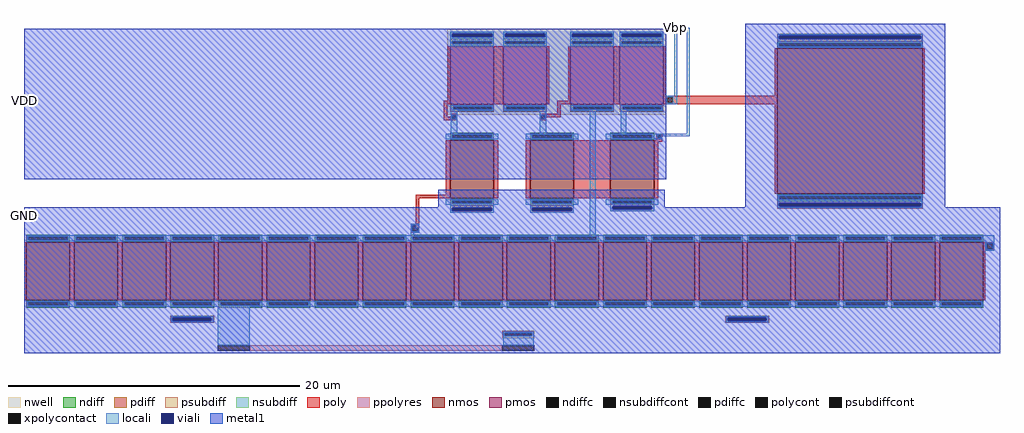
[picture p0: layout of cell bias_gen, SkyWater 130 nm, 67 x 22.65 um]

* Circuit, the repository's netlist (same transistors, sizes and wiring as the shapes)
* SPICE3 file created from bias_gen.ext - technology: sky130A

.subckt bias_gen Vbn Vbp VDD GND
X0 VDD a_n4470_n620# a_n4470_n620# VDD sky130_fd_pr__pfet_01v8 ad=1.5 pd=7 as=1.5 ps=7 w=3 l=4
X1 a_n10230_n3090# a_n10230_n3090# a_n10200_n3190# GND sky130_fd_pr__nfet_01v8 ad=1.5 pd=7 as=1.5 ps=7 w=3 l=4
X2 a_n10230_n3090# a_n10230_n3090# a_n10200_n3190# GND sky130_fd_pr__nfet_01v8 ad=1.5 pd=7 as=1.5 ps=7 w=3 l=4
X3 a_n10230_n3090# a_n10230_n3090# a_n10200_n3190# GND sky130_fd_pr__nfet_01v8 ad=1.5 pd=7 as=1.5 ps=7 w=3 l=4
X4 a_n10230_n3090# a_n10230_n3090# a_n10200_n3190# GND sky130_fd_pr__nfet_01v8 ad=1.5 pd=7 as=1.5 ps=7 w=3 l=4
X5 a_n10230_n3090# a_n10230_n3090# a_n10200_n3190# GND sky130_fd_pr__nfet_01v8 ad=1.5 pd=7 as=1.5 ps=7 w=3 l=4
X6 VDD a_n4470_n620# Vbp VDD sky130_fd_pr__pfet_01v8 ad=1.5 pd=7 as=1.5 ps=7 w=3 l=4
X7 a_n10230_n3090# a_n10230_n3090# a_n10200_n3190# GND sky130_fd_pr__nfet_01v8 ad=1.5 pd=7 as=1.5 ps=7 w=3 l=4
X8 a_n10230_n3090# a_n10230_n3090# a_n10200_n3190# GND sky130_fd_pr__nfet_01v8 ad=1.5 pd=7 as=1.5 ps=7 w=3 l=4
X9 a_n10230_n3090# a_n10230_n3090# a_n10200_n3190# GND sky130_fd_pr__nfet_01v8 ad=1.5 pd=7 as=1.5 ps=7 w=3 l=4
X10 a_n10230_n3090# a_n10230_n3090# a_n10200_n3190# GND sky130_fd_pr__nfet_01v8 ad=1.5 pd=7 as=1.5 ps=7 w=3 l=4
X11 a_n10230_n3090# a_n10230_n3090# a_n10200_n3190# GND sky130_fd_pr__nfet_01v8 ad=1.5 pd=7 as=1.5 ps=7 w=3 l=4
X12 a_n4470_n620# a_n10230_n3090# GND GND sky130_fd_pr__nfet_01v8 ad=1.5 pd=7 as=1.5 ps=7 w=3 l=4
X13 a_n10230_n3090# a_n10230_n3090# a_n10200_n3190# GND sky130_fd_pr__nfet_01v8 ad=1.5 pd=7 as=1.5 ps=7 w=3 l=4
X14 a_n10230_n3090# a_n10230_n3090# a_n10200_n3190# GND sky130_fd_pr__nfet_01v8 ad=1.5 pd=7 as=1.5 ps=7 w=3 l=4
X15 a_n10230_n3090# a_n10230_n3090# a_n10200_n3190# GND sky130_fd_pr__nfet_01v8 ad=1.5 pd=7 as=1.5 ps=7 w=3 l=4
X16 Vbp Vbn GND GND sky130_fd_pr__nfet_01v8 ad=1.5 pd=7 as=1.5 ps=7 w=3 l=4
X17 a_n10200_n3190# GND GND sky130_fd_pr__res_xhigh_po_0p35 l=17.5
X18 a_n10230_n3090# a_n10230_n3090# a_n10200_n3190# GND sky130_fd_pr__nfet_01v8 ad=1.5 pd=7 as=1.5 ps=7 w=3 l=4
X19 GND Vbp GND GND sky130_fd_pr__nfet_01v8 ad=5 pd=21 as=14.2 ps=62.8 w=10 l=10
X20 Vbn Vbn GND GND sky130_fd_pr__nfet_01v8 ad=1.5 pd=7 as=1.2 ps=6.8 w=3 l=4
X21 VDD Vbp a_n10230_n3090# VDD sky130_fd_pr__pfet_01v8 ad=1.5 pd=7 as=1.5 ps=7 w=3 l=4
X22 a_n10230_n3090# a_n10230_n3090# a_n10200_n3190# GND sky130_fd_pr__nfet_01v8 ad=1.5 pd=7 as=1.5 ps=7 w=3 l=4
X23 a_n10230_n3090# a_n10230_n3090# a_n10200_n3190# GND sky130_fd_pr__nfet_01v8 ad=1.5 pd=7 as=1.5 ps=7 w=3 l=4
X24 a_n10230_n3090# a_n10230_n3090# a_n10200_n3190# GND sky130_fd_pr__nfet_01v8 ad=1.5 pd=7 as=1.5 ps=7 w=3 l=4
X25 VDD Vbp Vbn VDD sky130_fd_pr__pfet_01v8 ad=1.5 pd=7 as=1.5 ps=7 w=3 l=4
X26 a_n10230_n3090# a_n10230_n3090# a_n10200_n3190# GND sky130_fd_pr__nfet_01v8 ad=1.5 pd=7 as=1.5 ps=7 w=3 l=4
X27 a_n10230_n3090# a_n10230_n3090# a_n10200_n3190# GND sky130_fd_pr__nfet_01v8 ad=1.5 pd=7 as=1.5 ps=7 w=3 l=4
X28 a_n10230_n3090# a_n10230_n3090# a_n10200_n3190# GND sky130_fd_pr__nfet_01v8 ad=1.5 pd=7 as=1.5 ps=7 w=3 l=4
.ends

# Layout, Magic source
magic
tech sky130A
<< nwell >>
rect -2210 -270 -705 320
<< nmos >>
rect -2190 -845 -1890 -445
rect -1640 -845 -1340 -445
rect -1090 -845 -790 -445
rect 55 -815 1055 185
rect -5100 -1545 -4800 -1145
rect -4770 -1545 -4470 -1145
rect -4440 -1545 -4140 -1145
rect -4110 -1545 -3810 -1145
rect -3780 -1545 -3480 -1145
rect -3450 -1545 -3150 -1145
rect -3120 -1545 -2820 -1145
rect -2790 -1545 -2490 -1145
rect -2460 -1545 -2160 -1145
rect -2130 -1545 -1830 -1145
rect -1800 -1545 -1500 -1145
rect -1470 -1545 -1170 -1145
rect -1140 -1545 -840 -1145
rect -810 -1545 -510 -1145
rect -480 -1545 -180 -1145
rect -150 -1545 150 -1145
rect 180 -1545 480 -1145
rect 510 -1545 810 -1145
rect 840 -1545 1140 -1145
rect 1170 -1545 1470 -1145
<< pmos >>
rect -2190 -200 -1890 200
rect -1825 -200 -1525 200
rect -1365 -200 -1065 200
rect -1025 -200 -725 200
<< ndiff >>
rect 55 220 1055 235
rect 55 200 70 220
rect 1040 200 1055 220
rect 55 185 1055 200
rect -2190 -410 -1890 -395
rect -2190 -430 -2175 -410
rect -1905 -430 -1890 -410
rect -2190 -445 -1890 -430
rect -1640 -410 -1340 -395
rect -1640 -430 -1625 -410
rect -1355 -430 -1340 -410
rect -1640 -445 -1340 -430
rect -1090 -410 -790 -395
rect -1090 -430 -1075 -410
rect -805 -430 -790 -410
rect -1090 -445 -790 -430
rect 55 -830 1055 -815
rect -2190 -860 -1890 -845
rect -2190 -880 -2175 -860
rect -1905 -880 -1890 -860
rect -2190 -895 -1890 -880
rect -1640 -860 -1340 -845
rect -1640 -880 -1625 -860
rect -1355 -880 -1340 -860
rect -1640 -895 -1340 -880
rect -1090 -860 -790 -845
rect -1090 -880 -1075 -860
rect -805 -880 -790 -860
rect -1090 -885 -790 -880
rect 55 -850 70 -830
rect 1040 -850 1055 -830
rect 55 -865 1055 -850
rect -5100 -1110 -4800 -1095
rect -5100 -1130 -5085 -1110
rect -4815 -1130 -4800 -1110
rect -5100 -1145 -4800 -1130
rect -4770 -1110 -4470 -1095
rect -4770 -1130 -4755 -1110
rect -4485 -1130 -4470 -1110
rect -4770 -1145 -4470 -1130
rect -4440 -1110 -4140 -1095
rect -4440 -1130 -4425 -1110
rect -4155 -1130 -4140 -1110
rect -4440 -1145 -4140 -1130
rect -4110 -1110 -3810 -1095
rect -4110 -1130 -4095 -1110
rect -3825 -1130 -3810 -1110
rect -4110 -1145 -3810 -1130
rect -3780 -1110 -3480 -1095
rect -3780 -1130 -3765 -1110
rect -3495 -1130 -3480 -1110
rect -3780 -1145 -3480 -1130
rect -3450 -1110 -3150 -1095
rect -3450 -1130 -3435 -1110
rect -3165 -1130 -3150 -1110
rect -3450 -1145 -3150 -1130
rect -3120 -1110 -2820 -1095
rect -3120 -1130 -3105 -1110
rect -2835 -1130 -2820 -1110
rect -3120 -1145 -2820 -1130
rect -2790 -1110 -2490 -1095
rect -2790 -1130 -2775 -1110
rect -2505 -1130 -2490 -1110
rect -2790 -1145 -2490 -1130
rect -2460 -1110 -2160 -1095
rect -2460 -1130 -2445 -1110
rect -2175 -1130 -2160 -1110
rect -2460 -1145 -2160 -1130
rect -2130 -1110 -1830 -1095
rect -2130 -1130 -2115 -1110
rect -1845 -1130 -1830 -1110
rect -2130 -1145 -1830 -1130
rect -1800 -1110 -1500 -1095
rect -1800 -1130 -1785 -1110
rect -1515 -1130 -1500 -1110
rect -1800 -1145 -1500 -1130
rect -1470 -1110 -1170 -1095
rect -1470 -1130 -1455 -1110
rect -1185 -1130 -1170 -1110
rect -1470 -1145 -1170 -1130
rect -1140 -1110 -840 -1095
rect -1140 -1130 -1125 -1110
rect -855 -1130 -840 -1110
rect -1140 -1145 -840 -1130
rect -810 -1110 -510 -1095
rect -810 -1130 -795 -1110
rect -525 -1130 -510 -1110
rect -810 -1145 -510 -1130
rect -480 -1110 -180 -1095
rect -480 -1130 -465 -1110
rect -195 -1130 -180 -1110
rect -480 -1145 -180 -1130
rect -150 -1110 150 -1095
rect -150 -1130 -135 -1110
rect 135 -1130 150 -1110
rect -150 -1145 150 -1130
rect 180 -1110 480 -1095
rect 180 -1130 195 -1110
rect 465 -1130 480 -1110
rect 180 -1145 480 -1130
rect 510 -1110 810 -1095
rect 510 -1130 525 -1110
rect 795 -1130 810 -1110
rect 510 -1145 810 -1130
rect 840 -1110 1140 -1095
rect 840 -1130 855 -1110
rect 1125 -1130 1140 -1110
rect 840 -1145 1140 -1130
rect 1170 -1110 1470 -1095
rect 1170 -1130 1185 -1110
rect 1455 -1130 1470 -1110
rect 1170 -1145 1470 -1130
rect -5100 -1560 -4800 -1545
rect -5100 -1580 -5085 -1560
rect -4815 -1580 -4800 -1560
rect -5100 -1595 -4800 -1580
rect -4770 -1560 -4470 -1545
rect -4770 -1580 -4755 -1560
rect -4485 -1580 -4470 -1560
rect -4770 -1595 -4470 -1580
rect -4440 -1560 -4140 -1545
rect -4440 -1580 -4425 -1560
rect -4155 -1580 -4140 -1560
rect -4440 -1595 -4140 -1580
rect -4110 -1560 -3810 -1545
rect -4110 -1580 -4095 -1560
rect -3825 -1580 -3810 -1560
rect -4110 -1595 -3810 -1580
rect -3780 -1560 -3480 -1545
rect -3780 -1580 -3765 -1560
rect -3495 -1580 -3480 -1560
rect -3780 -1595 -3480 -1580
rect -3450 -1560 -3150 -1545
rect -3450 -1580 -3435 -1560
rect -3165 -1580 -3150 -1560
rect -3450 -1595 -3150 -1580
rect -3120 -1560 -2820 -1545
rect -3120 -1580 -3105 -1560
rect -2835 -1580 -2820 -1560
rect -3120 -1595 -2820 -1580
rect -2790 -1560 -2490 -1545
rect -2790 -1580 -2775 -1560
rect -2505 -1580 -2490 -1560
rect -2790 -1595 -2490 -1580
rect -2460 -1560 -2160 -1545
rect -2460 -1580 -2445 -1560
rect -2175 -1580 -2160 -1560
rect -2460 -1595 -2160 -1580
rect -2130 -1560 -1830 -1545
rect -2130 -1580 -2115 -1560
rect -1845 -1580 -1830 -1560
rect -2130 -1595 -1830 -1580
rect -1800 -1560 -1500 -1545
rect -1800 -1580 -1785 -1560
rect -1515 -1580 -1500 -1560
rect -1800 -1595 -1500 -1580
rect -1470 -1560 -1170 -1545
rect -1470 -1580 -1455 -1560
rect -1185 -1580 -1170 -1560
rect -1470 -1595 -1170 -1580
rect -1140 -1560 -840 -1545
rect -1140 -1580 -1125 -1560
rect -855 -1580 -840 -1560
rect -1140 -1595 -840 -1580
rect -810 -1560 -510 -1545
rect -810 -1580 -795 -1560
rect -525 -1580 -510 -1560
rect -810 -1595 -510 -1580
rect -480 -1560 -180 -1545
rect -480 -1580 -465 -1560
rect -195 -1580 -180 -1560
rect -480 -1595 -180 -1580
rect -150 -1560 150 -1545
rect -150 -1580 -135 -1560
rect 135 -1580 150 -1560
rect -150 -1595 150 -1580
rect 180 -1560 480 -1545
rect 180 -1580 195 -1560
rect 465 -1580 480 -1560
rect 180 -1595 480 -1580
rect 510 -1560 810 -1545
rect 510 -1580 525 -1560
rect 795 -1580 810 -1560
rect 510 -1595 810 -1580
rect 840 -1560 1140 -1545
rect 840 -1580 855 -1560
rect 1125 -1580 1140 -1560
rect 840 -1595 1140 -1580
rect 1170 -1560 1470 -1545
rect 1170 -1580 1185 -1560
rect 1455 -1580 1470 -1560
rect 1170 -1595 1470 -1580
<< pdiff >>
rect -2190 235 -1890 250
rect -2190 215 -2175 235
rect -1905 215 -1890 235
rect -2190 200 -1890 215
rect -1825 235 -1525 250
rect -1825 215 -1810 235
rect -1540 215 -1525 235
rect -1825 200 -1525 215
rect -1365 235 -1065 250
rect -1365 215 -1350 235
rect -1080 215 -1065 235
rect -1365 200 -1065 215
rect -1025 235 -725 250
rect -1025 215 -1010 235
rect -740 215 -725 235
rect -1025 200 -725 215
rect -2190 -215 -1890 -200
rect -2190 -235 -2170 -215
rect -1905 -235 -1890 -215
rect -2190 -250 -1890 -235
rect -1825 -215 -1525 -200
rect -1825 -235 -1805 -215
rect -1540 -235 -1525 -215
rect -1825 -250 -1525 -235
rect -1365 -215 -1065 -200
rect -1365 -235 -1345 -215
rect -1080 -235 -1065 -215
rect -1365 -250 -1065 -235
rect -1025 -215 -725 -200
rect -1025 -235 -1005 -215
rect -740 -235 -725 -215
rect -1025 -250 -725 -235
<< ndiffc >>
rect 70 200 1040 220
rect -2175 -430 -1905 -410
rect -1625 -430 -1355 -410
rect -1075 -430 -805 -410
rect -2175 -880 -1905 -860
rect -1625 -880 -1355 -860
rect -1075 -880 -805 -860
rect 70 -850 1040 -830
rect -5085 -1130 -4815 -1110
rect -4755 -1130 -4485 -1110
rect -4425 -1130 -4155 -1110
rect -4095 -1130 -3825 -1110
rect -3765 -1130 -3495 -1110
rect -3435 -1130 -3165 -1110
rect -3105 -1130 -2835 -1110
rect -2775 -1130 -2505 -1110
rect -2445 -1130 -2175 -1110
rect -2115 -1130 -1845 -1110
rect -1785 -1130 -1515 -1110
rect -1455 -1130 -1185 -1110
rect -1125 -1130 -855 -1110
rect -795 -1130 -525 -1110
rect -465 -1130 -195 -1110
rect -135 -1130 135 -1110
rect 195 -1130 465 -1110
rect 525 -1130 795 -1110
rect 855 -1130 1125 -1110
rect 1185 -1130 1455 -1110
rect -5085 -1580 -4815 -1560
rect -4755 -1580 -4485 -1560
rect -4425 -1580 -4155 -1560
rect -4095 -1580 -3825 -1560
rect -3765 -1580 -3495 -1560
rect -3435 -1580 -3165 -1560
rect -3105 -1580 -2835 -1560
rect -2775 -1580 -2505 -1560
rect -2445 -1580 -2175 -1560
rect -2115 -1580 -1845 -1560
rect -1785 -1580 -1515 -1560
rect -1455 -1580 -1185 -1560
rect -1125 -1580 -855 -1560
rect -795 -1580 -525 -1560
rect -465 -1580 -195 -1560
rect -135 -1580 135 -1560
rect 195 -1580 465 -1560
rect 525 -1580 795 -1560
rect 855 -1580 1125 -1560
rect 1185 -1580 1455 -1560
<< pdiffc >>
rect -2175 215 -1905 235
rect -1810 215 -1540 235
rect -1350 215 -1080 235
rect -1010 215 -740 235
rect -2170 -235 -1905 -215
rect -1805 -235 -1540 -215
rect -1345 -235 -1080 -215
rect -1005 -235 -740 -215
<< psubdiff >>
rect 55 270 1055 285
rect 55 250 70 270
rect 1040 250 1055 270
rect 55 235 1055 250
rect -2190 -910 -1890 -895
rect -2190 -930 -2175 -910
rect -1905 -930 -1890 -910
rect -2190 -945 -1890 -930
rect -1640 -910 -1340 -895
rect -1640 -930 -1625 -910
rect -1355 -930 -1340 -910
rect -1640 -945 -1340 -930
rect -1090 -900 -790 -885
rect -1090 -920 -1075 -900
rect -805 -920 -790 -900
rect 55 -880 1055 -865
rect 55 -900 70 -880
rect 1040 -900 1055 -880
rect 55 -915 1055 -900
rect -1090 -935 -790 -920
rect -4110 -1665 -3810 -1650
rect -4110 -1685 -4095 -1665
rect -3830 -1685 -3810 -1665
rect -4110 -1700 -3810 -1685
rect -300 -1665 0 -1650
rect -300 -1685 -285 -1665
rect -20 -1685 0 -1665
rect -300 -1700 0 -1685
rect -1831 -1770 -1611 -1755
rect -1831 -1790 -1816 -1770
rect -1631 -1790 -1611 -1770
rect -1831 -1805 -1611 -1790
<< nsubdiff >>
rect -2190 285 -1890 300
rect -2190 265 -2175 285
rect -1900 265 -1890 285
rect -2190 250 -1890 265
rect -1825 285 -1525 300
rect -1825 265 -1810 285
rect -1535 265 -1525 285
rect -1825 250 -1525 265
rect -1365 285 -1065 300
rect -1365 265 -1350 285
rect -1075 265 -1065 285
rect -1365 250 -1065 265
rect -1025 285 -725 300
rect -1025 265 -1010 285
rect -735 265 -725 285
rect -1025 250 -725 265
<< psubdiffcont >>
rect 70 250 1040 270
rect -2175 -930 -1905 -910
rect -1625 -930 -1355 -910
rect -1075 -920 -805 -900
rect 70 -900 1040 -880
rect -4095 -1685 -3830 -1665
rect -285 -1685 -20 -1665
rect -1816 -1790 -1631 -1770
<< nsubdiffcont >>
rect -2175 265 -1900 285
rect -1810 265 -1535 285
rect -1350 265 -1075 285
rect -1010 265 -735 285
<< poly >>
rect -2205 -175 -2190 200
rect -2235 -200 -2190 -175
rect -1890 -200 -1825 200
rect -1525 -200 -1510 200
rect -1380 -175 -1365 200
rect -1455 -200 -1365 -175
rect -1065 -200 -1025 200
rect -725 -140 -710 200
rect 40 -140 55 185
rect -725 -150 55 -140
rect -725 -190 -700 -150
rect -660 -190 55 -150
rect -725 -200 55 -190
rect -2235 -285 -2210 -200
rect -1455 -265 -1430 -200
rect -2185 -275 -2140 -265
rect -2185 -285 -2175 -275
rect -2235 -300 -2175 -285
rect -2150 -300 -2140 -275
rect -2235 -310 -2140 -300
rect -1575 -275 -1430 -265
rect -1575 -300 -1565 -275
rect -1540 -290 -1430 -275
rect -1540 -300 -1530 -290
rect -1575 -310 -1530 -300
rect -775 -410 -735 -400
rect -775 -430 -765 -410
rect -745 -430 -735 -410
rect -775 -445 -735 -430
rect -2220 -820 -2190 -445
rect -2425 -845 -2190 -820
rect -1890 -845 -1860 -445
rect -1670 -845 -1640 -445
rect -1340 -845 -1090 -445
rect -790 -455 -735 -445
rect -790 -845 -760 -455
rect 40 -815 55 -200
rect 1055 -815 1070 185
rect -2425 -1020 -2400 -845
rect -2460 -1030 -2400 -1020
rect -2460 -1070 -2450 -1030
rect -2425 -1050 -2400 -1030
rect -2410 -1070 -2400 -1050
rect -2460 -1080 -2400 -1070
rect -5115 -1545 -5100 -1145
rect -4800 -1545 -4770 -1145
rect -4470 -1545 -4440 -1145
rect -4140 -1545 -4110 -1145
rect -3810 -1545 -3780 -1145
rect -3480 -1545 -3450 -1145
rect -3150 -1545 -3120 -1145
rect -2820 -1545 -2790 -1145
rect -2490 -1545 -2460 -1145
rect -2160 -1545 -2130 -1145
rect -1830 -1545 -1800 -1145
rect -1500 -1545 -1470 -1145
rect -1170 -1545 -1140 -1145
rect -840 -1545 -810 -1145
rect -510 -1545 -480 -1145
rect -180 -1545 -150 -1145
rect 150 -1545 180 -1145
rect 480 -1545 510 -1145
rect 810 -1545 840 -1145
rect 1140 -1545 1170 -1145
rect 1470 -1155 1545 -1145
rect 1470 -1195 1495 -1155
rect 1535 -1195 1545 -1155
rect 1470 -1205 1545 -1195
rect 1470 -1545 1485 -1205
<< polycont >>
rect -700 -190 -660 -150
rect -2175 -300 -2150 -275
rect -1565 -300 -1540 -275
rect -765 -430 -745 -410
rect -2450 -1050 -2425 -1030
rect -2450 -1070 -2410 -1050
rect 1495 -1195 1535 -1155
<< xpolycontact >>
rect -3785 -1890 -3565 -1855
rect -1831 -1890 -1611 -1855
<< ppolyres >>
rect -3565 -1890 -1831 -1855
<< locali >>
rect -2190 285 -1890 300
rect -2190 265 -2175 285
rect -1900 265 -1890 285
rect -2190 235 -1890 265
rect -2190 215 -2175 235
rect -1905 215 -1890 235
rect -2190 200 -1890 215
rect -1825 285 -1525 300
rect -1825 265 -1810 285
rect -1535 265 -1525 285
rect -1825 235 -1525 265
rect -1825 215 -1810 235
rect -1540 215 -1525 235
rect -1825 200 -1525 215
rect -1365 285 -1065 300
rect -1365 265 -1350 285
rect -1075 265 -1065 285
rect -1365 235 -1065 265
rect -1365 215 -1350 235
rect -1080 215 -1065 235
rect -1365 200 -1065 215
rect -1025 285 -725 300
rect -1025 265 -1010 285
rect -735 265 -725 285
rect -1025 235 -725 265
rect -1025 215 -1010 235
rect -740 215 -725 235
rect -1025 200 -725 215
rect -650 -140 -630 325
rect -710 -150 -630 -140
rect -710 -190 -700 -150
rect -660 -190 -630 -150
rect -710 -200 -630 -190
rect -2185 -215 -1895 -205
rect -2185 -235 -2170 -215
rect -1905 -235 -1895 -215
rect -2185 -245 -1895 -235
rect -1820 -215 -1530 -205
rect -1820 -235 -1805 -215
rect -1540 -235 -1530 -215
rect -1820 -245 -1530 -235
rect -1360 -215 -1070 -205
rect -1360 -235 -1345 -215
rect -1080 -235 -1070 -215
rect -1360 -245 -1070 -235
rect -1020 -215 -730 -205
rect -1020 -235 -1005 -215
rect -740 -235 -730 -215
rect -1020 -245 -730 -235
rect -2185 -275 -2140 -245
rect -2185 -300 -2175 -275
rect -2150 -300 -2140 -275
rect -2185 -400 -2140 -300
rect -1575 -275 -1530 -245
rect -1575 -300 -1565 -275
rect -1540 -300 -1530 -275
rect -1575 -400 -1530 -300
rect -2220 -410 -1860 -400
rect -2220 -430 -2175 -410
rect -1905 -430 -1860 -410
rect -2220 -440 -1860 -430
rect -1670 -410 -1310 -400
rect -1670 -430 -1625 -410
rect -1355 -430 -1310 -410
rect -1670 -440 -1310 -430
rect -2220 -860 -1860 -850
rect -2220 -880 -2175 -860
rect -1905 -880 -1860 -860
rect -2220 -890 -1860 -880
rect -1670 -860 -1310 -850
rect -1670 -880 -1625 -860
rect -1355 -880 -1310 -860
rect -1670 -890 -1310 -880
rect -2190 -910 -1890 -890
rect -2190 -930 -2175 -910
rect -1905 -930 -1890 -910
rect -2190 -945 -1890 -930
rect -1640 -910 -1340 -890
rect -1640 -930 -1625 -910
rect -1355 -930 -1340 -910
rect -1640 -945 -1340 -930
rect -2460 -1030 -2400 -1020
rect -2460 -1070 -2450 -1030
rect -2425 -1050 -2400 -1030
rect -2410 -1070 -2400 -1050
rect -2460 -1080 -2400 -1070
rect -2460 -1100 -2440 -1080
rect -1230 -1100 -1190 -245
rect -1020 -400 -980 -245
rect -565 -400 -545 325
rect 60 270 1050 280
rect 60 250 70 270
rect 1040 250 1050 270
rect 60 220 1050 250
rect 60 200 70 220
rect 1040 200 1050 220
rect 60 190 1050 200
rect -1120 -410 -545 -400
rect -1120 -430 -1075 -410
rect -805 -430 -765 -410
rect -745 -420 -545 -410
rect -745 -430 -735 -420
rect -1120 -440 -735 -430
rect 60 -830 1050 -820
rect 60 -850 70 -830
rect 1040 -850 1050 -830
rect -1120 -860 -760 -850
rect -1120 -880 -1075 -860
rect -805 -880 -760 -860
rect -1120 -890 -760 -880
rect 60 -880 1050 -850
rect -1090 -900 -790 -890
rect -1090 -920 -1075 -900
rect -805 -920 -790 -900
rect 60 -900 70 -880
rect 1040 -900 1050 -880
rect 60 -910 1050 -900
rect -1090 -935 -790 -920
rect -5095 -1110 1545 -1100
rect -5095 -1130 -5085 -1110
rect -4815 -1130 -4755 -1110
rect -4485 -1130 -4425 -1110
rect -4155 -1130 -4095 -1110
rect -3825 -1130 -3765 -1110
rect -3495 -1130 -3435 -1110
rect -3165 -1130 -3105 -1110
rect -2835 -1130 -2775 -1110
rect -2505 -1130 -2445 -1110
rect -2175 -1130 -2115 -1110
rect -1845 -1130 -1785 -1110
rect -1515 -1130 -1455 -1110
rect -1185 -1130 -1125 -1110
rect -855 -1130 -795 -1110
rect -525 -1130 -465 -1110
rect -195 -1130 -135 -1110
rect 135 -1130 195 -1110
rect 465 -1130 525 -1110
rect 795 -1130 855 -1110
rect 1125 -1130 1185 -1110
rect 1455 -1130 1545 -1110
rect -5095 -1140 1545 -1130
rect 1485 -1155 1545 -1140
rect 1485 -1195 1495 -1155
rect 1535 -1195 1545 -1155
rect 1485 -1205 1545 -1195
rect -5095 -1560 1465 -1550
rect -5095 -1580 -5085 -1560
rect -4815 -1580 -4755 -1560
rect -4485 -1580 -4425 -1560
rect -4155 -1580 -4095 -1560
rect -3825 -1580 -3765 -1560
rect -3495 -1580 -3435 -1560
rect -3165 -1580 -3105 -1560
rect -2835 -1580 -2775 -1560
rect -2505 -1580 -2445 -1560
rect -2175 -1580 -2115 -1560
rect -1845 -1580 -1785 -1560
rect -1515 -1580 -1455 -1560
rect -1185 -1580 -1125 -1560
rect -855 -1580 -795 -1560
rect -525 -1580 -465 -1560
rect -195 -1580 -135 -1560
rect 135 -1580 195 -1560
rect 465 -1580 525 -1560
rect 795 -1580 855 -1560
rect 1125 -1580 1185 -1560
rect 1455 -1580 1465 -1560
rect -5095 -1590 1465 -1580
rect -4105 -1665 -3815 -1655
rect -4105 -1685 -4095 -1665
rect -3830 -1685 -3815 -1665
rect -4105 -1695 -3815 -1685
rect -3785 -1855 -3565 -1590
rect -295 -1665 -5 -1655
rect -295 -1685 -285 -1665
rect -20 -1685 -5 -1665
rect -295 -1695 -5 -1685
rect -1826 -1770 -1616 -1760
rect -1826 -1790 -1816 -1770
rect -1631 -1790 -1616 -1770
rect -1826 -1855 -1616 -1790
<< viali >>
rect -2175 265 -1900 285
rect -1810 265 -1540 285
rect -1350 265 -1080 285
rect -1010 265 -740 285
rect -2175 -930 -1905 -910
rect -1625 -930 -1355 -910
rect 70 250 1040 270
rect -1075 -920 -805 -900
rect 70 -900 1040 -880
rect -4095 -1685 -3830 -1665
rect -285 -1685 -20 -1665
<< metal1 >>
rect -5115 285 -705 320
rect -5115 265 -2175 285
rect -1900 265 -1810 285
rect -1540 265 -1350 285
rect -1080 265 -1010 285
rect -740 265 -705 285
rect -5115 -715 -705 265
rect -165 270 1210 355
rect -165 250 70 270
rect 1040 250 1210 270
rect -2270 -900 -715 -785
rect -2270 -905 -1075 -900
rect -5115 -910 -1075 -905
rect -5115 -930 -2175 -910
rect -1905 -930 -1625 -910
rect -1355 -920 -1075 -910
rect -805 -905 -715 -900
rect -165 -880 1210 250
rect -165 -900 70 -880
rect 1040 -900 1210 -880
rect -165 -905 1210 -900
rect -805 -920 1585 -905
rect -1355 -930 1585 -920
rect -5115 -1665 1585 -930
rect -5115 -1685 -4095 -1665
rect -3830 -1685 -285 -1665
rect -20 -1685 1585 -1665
rect -5115 -1910 1585 -1685
<< labels >>
rlabel metal1 -5115 -965 -5115 -965 7 GND
port 3 w
rlabel metal1 -5115 -175 -5115 -175 7 VDD
port 2 w
rlabel locali -640 325 -640 325 1 Vbp
port 1 n
rlabel locali -555 325 -555 325 1 Vbn
port 0 n
<< properties >>
string MASKHINTS_RPM -3805 -1950 -1575 -1780
string MASKHINTS_URPM -3880 -2010 -1522 -1689
<< end >>
